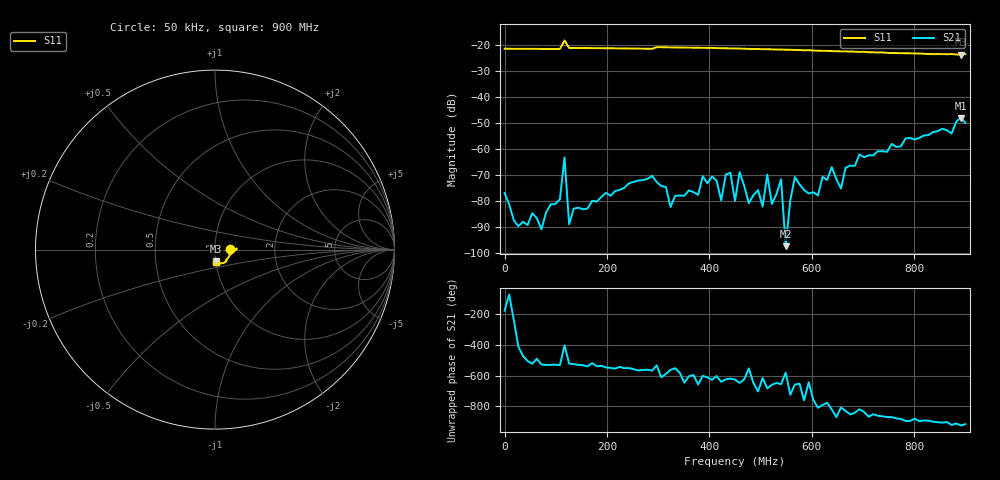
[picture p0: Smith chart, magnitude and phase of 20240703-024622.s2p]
# HZ S RI R 50
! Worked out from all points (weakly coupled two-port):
!   101 points, 50 kHz to 900 MHz, reference 50 ohm
!   highest |S21| = -48.01 dB at 891 MHz (marker M1); lowest = -97.3 dB at 549 MHz (marker M2)
!   lowest |S11| = -23.8 dB at 891 MHz (marker M3), VSWR 1.14, Z = 50.2 - j6.51 ohm
!   |S11| at or under -10 dB: start of sweep to end of sweep
!   S12 and S22 are empty: the file has one direction only
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50000  0.085 0.000806  -0.000142 -7.17e-06  0 0  0 0
1.08044e8  0.08 -0.025  -0.000108 -1.45e-05  0 0  0 0
1.170435e8  0.1221 0.00614  0.000498 -0.000481  0 0  0 0
1.26043e8  0.0824 -0.03  -3.41e-05 -1.13e-05  0 0  0 0
1.530415e8  0.0797 -0.0358  -6.9e-05 -9.34e-06  0 0  0 0
3.06033e8  0.0632 -0.0652  -6.2e-05 0.000185  0 0  0 0
4.050275e8  0.0465 -0.0748  -1.11e-05 0.000296  0 0  0 0
4.230265e8  0.0437 -0.0751  1.91e-05 0.000102  0 0  0 0
4.410255e8  0.0411 -0.0757  -6.18e-05 0.000346  0 0  0 0
4.50025e8  0.0395 -0.0762  -6.75e-06 0.000101  0 0  0 0
4.590245e8  0.0383 -0.0762  0.00011 0.000343  0 0  0 0
4.770235e8  0.0358 -0.0762  -8.89e-05 2.11e-05  0 0  0 0
5.04022e8  0.0324 -0.0765  -1.95e-05 7.63e-05  0 0  0 0
5.130215e8  0.0313 -0.0769  0.000262 0.000192  0 0  0 0
5.22021e8  0.0299 -0.0769  4.35e-05 7.66e-05  0 0  0 0
5.4002e8  0.0281 -0.0768  0.000116 0.000235  0 0  0 0
5.490195e8  0.0267 -0.0766  -1.03e-05 8.9e-06  0 0  0 0
5.670185e8  0.0253 -0.0762  0.000137 0.000256  0 0  0 0
6.030165e8  0.0211 -0.0752  0.000115 -9.27e-05  0 0  0 0
7.56008e8  0.0114 -0.069  -0.00109 -0.000624  0 0  0 0
8.910005e8  0.00591 -0.0646  -0.00361 0.00168  0 0  0 0
9e8  0.0057 -0.0663  -0.00305 0.000913  0 0  0 0
